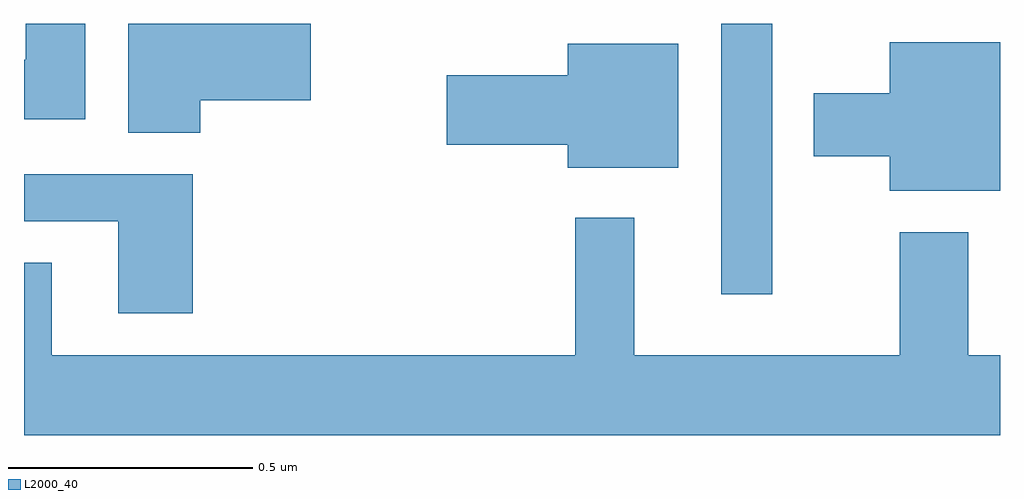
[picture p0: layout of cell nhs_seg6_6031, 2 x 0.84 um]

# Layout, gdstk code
import gdstk
lib = gdstk.Library(unit=1e-6, precision=1e-09)
def R(c, l, rs):  # rectangles x0, y0, x1, y1
    for r in rs: c.add(gdstk.rectangle(r[:2], r[2:], *l))
def P(c, l, *ps):  # polygons
    for p in ps: c.add(gdstk.Polygon(p, *l))
L2000_40 = (2000, 40)

nhs_seg6_6031 = lib.new_cell('nhs_seg6_6031')
R(nhs_seg6_6031, L2000_40, [(191.429,960.945,191.533,961.5)])
P(nhs_seg6_6031, L2000_40, [(190.126,961.5),(190.004,961.5),(190.004,961.426),(190,961.426),(190,961.304),(190.126,961.304)],
  [(190.361,961.343),(190.588,961.343),(190.588,961.5),(190.214,961.5),(190.214,961.276),(190.361,961.276)],
  [(192,961.462),(191.774,961.462),(191.774,961.357),(191.618,961.357),(191.618,961.228),(191.774,961.228),(191.774,961.157),(192,961.157)],
  [(191.341,961.459),(191.114,961.459),(191.114,961.394),(190.866,961.394),(190.866,961.252),(191.114,961.252),(191.114,961.205),(191.341,961.205)],
  [(190.346,961.191),(190,961.191),(190,961.095),(190.193,961.095),(190.193,960.906),(190.346,960.906)],
  [(192,960.82),(191.935,960.82),(191.935,961.072),(191.795,961.072),(191.795,960.82),(191.251,960.82),(191.251,961.102),(191.13,961.102),(191.13,960.82),(190.057,960.82),(190.057,961.01),(190,961.01),(190,960.656),(192,960.656)])

lib.write_gds('nhs_seg6_6031.gds')
